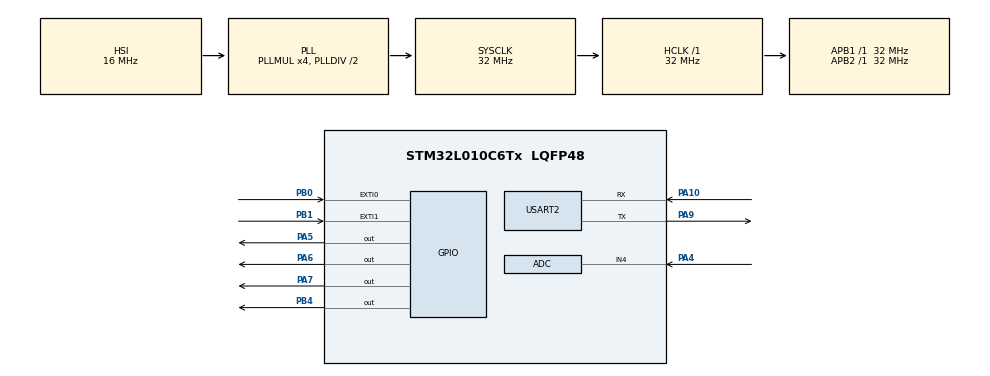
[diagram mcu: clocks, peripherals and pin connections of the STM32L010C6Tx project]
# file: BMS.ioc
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Mcu.Family=STM32L0
Mcu.Name=STM32L010C6Tx
Mcu.Package=LQFP48
NVIC.EXTI0_1_IRQn=true\:0\:0\:false\:false\:true\:true\:true\:true
NVIC.LPTIM1_IRQn=true\:0\:0\:false\:false\:true\:true\:true\:true
NVIC.USART2_IRQn=true\:0\:0\:false\:false\:true\:true\:true\:true
PA10.Mode=Asynchronous
PA10.Signal=USART2_RX
PA13.Mode=Serial_Wire
PA13.Signal=SYS_SWDIO
PA14.Mode=Serial_Wire
PA14.Signal=SYS_SWCLK
PA4.Mode=IN4
PA4.Signal=ADC_IN4
PA5.Signal=GPIO_Output
PA6.Signal=GPIO_Output
PA7.Signal=GPIO_Output
PA9.Mode=Asynchronous
PA9.Signal=USART2_TX
PB0.Signal=GPXTI0
PB1.Signal=GPXTI1
PB4.Signal=GPIO_Output
ProjectManager.HeapSize=0x200
ProjectManager.StackSize=0x400
ProjectManager.TargetToolchain=Makefile
RCC.AHBFreq_Value=32000000
RCC.APB1Freq_Value=32000000
RCC.APB1TimFreq_Value=32000000
RCC.APB2Freq_Value=32000000
RCC.APB2TimFreq_Value=32000000
RCC.HCLKFreq_Value=32000000
RCC.HSI16_VALUE=16000000
RCC.HSI_VALUE=16000000
RCC.LSE_VALUE=32768
RCC.MSI_VALUE=2097000
RCC.PLLMUL=RCC_PLLMUL_4
RCC.SYSCLKFreq_VALUE=32000000
RCC.SYSCLKSource=RCC_SYSCLKSOURCE_PLLCLK
RCC.VCOOutputFreq_Value=64000000
USART2.VirtualMode=VM_ASYNC
VP_LPTIM1_VS_LPTIM_counterModeInternalClock.Mode=Counts__internal_clock_event_00
VP_RTC_VS_RTC_Activate.Mode=RTC_Enabled
board=custom

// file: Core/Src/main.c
/* USER CODE BEGIN Header */
/**
  ******************************************************************************
  * @file           : main.c
  * @brief          : Main program body
  ******************************************************************************
  * @attention
  *
  * Copyright (c) 2026 STMicroelectronics.
  * All rights reserved.
  *
  * This software is licensed under terms that can be found in the LICENSE file
  * in the root directory of this software component.
  * If no LICENSE file comes with this software, it is provided AS-IS.
  *
  ******************************************************************************
  */
/* USER CODE END Header */
#include "main.h"
#include "adc.h"
#include "rtc.h"
#include "usart.h"
#include "gpio.h"

/* USER CODE BEGIN Includes */
#include "App/mainapp.h"
#include "bms_uart.h"
#include "debug_log.h"
#include "watchdog.h"
/* USER CODE END Includes */

void SystemClock_Config(void);

int main(void)
{

  /* MCU Configuration--------------------------------------------------------*/

  /* Reset of all peripherals, Initializes the Flash interface and the Systick. */
  HAL_Init();

  /* Configure the system clock */
  SystemClock_Config();

  /* Initialize all configured peripherals */
  MX_GPIO_Init();
  MX_ADC_Init();
  MX_RTC_Init();
  MX_USART2_UART_Init();
  /* USER CODE BEGIN 2 */
  watchdog_init();
#if BMS_UART_PROTOCOL_ENABLE
  bms_uart_init(&huart2);
#else
  debug_log_init(&huart2);
  BMS_LOG_INFO("boot");
  if (watchdog_was_reset()) {
    BMS_LOG_WARN("previous reset: WWDG");
  }
#endif

  /* USER CODE END 2 */

  /* Infinite loop */
  while (1)
  {

    /* USER CODE BEGIN 3 */
    mainapp();
    watchdog_note_main_progress();
  }
  /* USER CODE END 3 */
}

void SystemClock_Config(void)
{
  RCC_OscInitTypeDef RCC_OscInitStruct = {0};
  RCC_ClkInitTypeDef RCC_ClkInitStruct = {0};
  RCC_PeriphCLKInitTypeDef PeriphClkInit = {0};

  /** Configure the main internal regulator output voltage
  */
  __HAL_PWR_VOLTAGESCALING_CONFIG(PWR_REGULATOR_VOLTAGE_SCALE1);

  /** Initializes the RCC Oscillators according to the specified parameters
  * in the RCC_OscInitTypeDef structure.
  */
  RCC_OscInitStruct.OscillatorType = RCC_OSCILLATORTYPE_HSI|RCC_OSCILLATORTYPE_LSI;
  RCC_OscInitStruct.HSIState = RCC_HSI_ON;
  RCC_OscInitStruct.HSICalibrationValue = RCC_HSICALIBRATION_DEFAULT;
  RCC_OscInitStruct.LSIState = RCC_LSI_ON;
  RCC_OscInitStruct.PLL.PLLState = RCC_PLL_ON;
  RCC_OscInitStruct.PLL.PLLSource = RCC_PLLSOURCE_HSI;
  RCC_OscInitStruct.PLL.PLLMUL = RCC_PLLMUL_4;
  RCC_OscInitStruct.PLL.PLLDIV = RCC_PLLDIV_2;
  if (HAL_RCC_OscConfig(&RCC_OscInitStruct) != HAL_OK)
  {
    Error_Handler();
  }

  /** Initializes the CPU, AHB and APB buses clocks
  */
  RCC_ClkInitStruct.ClockType = RCC_CLOCKTYPE_HCLK|RCC_CLOCKTYPE_SYSCLK
                              |RCC_CLOCKTYPE_PCLK1|RCC_CLOCKTYPE_PCLK2;
  RCC_ClkInitStruct.SYSCLKSource = RCC_SYSCLKSOURCE_PLLCLK;
  RCC_ClkInitStruct.AHBCLKDivider = RCC_SYSCLK_DIV1;
  RCC_ClkInitStruct.APB1CLKDivider = RCC_HCLK_DIV1;
  RCC_ClkInitStruct.APB2CLKDivider = RCC_HCLK_DIV1;

  if (HAL_RCC_ClockConfig(&RCC_ClkInitStruct, FLASH_LATENCY_1) != HAL_OK)
  {
    Error_Handler();
  }
  PeriphClkInit.PeriphClockSelection = RCC_PERIPHCLK_USART2|RCC_PERIPHCLK_RTC;
  PeriphClkInit.Usart2ClockSelection = RCC_USART2CLKSOURCE_PCLK1;
  PeriphClkInit.RTCClockSelection = RCC_RTCCLKSOURCE_LSI;

  if (HAL_RCCEx_PeriphCLKConfig(&PeriphClkInit) != HAL_OK)
  {
    Error_Handler();
  }
}

void Error_Handler(void)
{
  __disable_irq();
  while (1)
  {
  }
}
